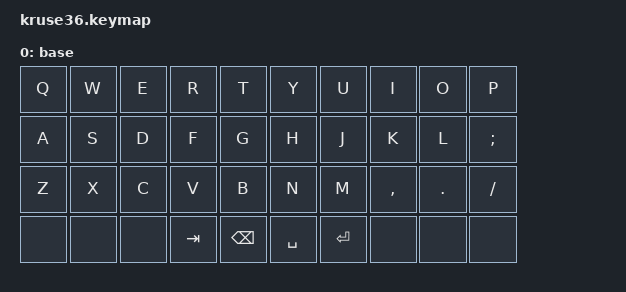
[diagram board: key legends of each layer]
#define ZMK_POINTING_DEFAULT_MOVE_VAL 1800  // default: 600
#define ZMK_POINTING_DEFAULT_SCRL_VAL 35    // default: 10

#include <behaviors.dtsi>
#include <dt-bindings/zmk/bt.h>
#include <dt-bindings/zmk/keys.h>
#include <dt-bindings/zmk/pointing.h>

&mt {
    //  flavor = "tap-preferred";
    // tapping_term_ms = <200>;
};

&lt { require-prior-idle-ms = <120>; };

/ {
        macros {
        // sometimes my device thinks a modifier is being held down
        // pressing all modifiers fixes it.

        unstick: unstick {
            label = "ZM_unstick";
            compatible = "zmk,behavior-macro";
            #binding-cells = <0>;
            bindings = <&kp LSHIFT &kp RSHIFT &kp LCTRL &kp RCTRL &kp LALT &kp RALT &kp LGUI &kp RGUI>;
        };

        alt_tab: alt_tab {
            compatible = "zmk,behavior-macro";
            #binding-cells = <0>;
            bindings = <&kp LEFT_ALT &kp TAB>;
            label = "ALT_TAB";
        };

        win_tab: win_tab {
            compatible = "zmk,behavior-macro";
            #binding-cells = <0>;
            bindings = <&kp LGUI &kp TAB>;
            label = "WIN_TAB";
        };
    };

    combos {
        compatible = "zmk,combos";

        // both right thumb keys
        // internal-left & external-right thumb keys

        escape {
            timeout-ms = <200>;
            key-positions = <33 30>;
            bindings = <&kp ESCAPE>;
        };

        // both left thumb keys

        combo_settings {
            timeout-ms = <300>;
            key-positions = <30 31>;
            bindings = <&mo 7>;
        };

        homeLayer {
            bindings = <&to 0>;
            key-positions = <16 13>;
            timeout-ms = <200>;
        };

        navLayer {
            bindings = <&to 1>;
            key-positions = <31 32>;
            timeout-ms = <200>;
        };

        quick_del {
            bindings = <&kp DEL>;
            key-positions = <13 31>;
        };
    };

    behaviors {
        longPress: longPress {
            compatible = "zmk,behavior-hold-tap";
            label = "LONGPRESS";
            bindings = <&kp>, <&kp>;

            #binding-cells = <2>;
            flavor = "tap-preferred";
            tapping-term-ms = <360>;
        };

        HMR: HMR {
            compatible = "zmk,behavior-hold-tap";
            label = "HMR";
            bindings = <&kp>, <&kp>;

            #binding-cells = <2>;
            flavor = "tap-preferred";
            tapping-term-ms = <180>;
            hold-trigger-key-positions = <0 1 2 11 12 0 1 2 3 4 10 11 12 13 14 20 21 22 23 24 30 31>;
            require-prior-idle-ms = <120>;
        };

        HML: HML {
            compatible = "zmk,behavior-hold-tap";
            label = "HML";
            bindings = <&kp>, <&kp>;

            #binding-cells = <2>;
            flavor = "tap-preferred";
            tapping-term-ms = <180>;
            hold-trigger-key-positions = <5 6 7 8 9 15 16 17 18 19 25 26 27 28 29 32 33>;
            require-prior-idle-ms = <120>;
        };
    };
    
    keymap {
        compatible = "zmk,keymap";

        base {
            bindings = <
&kp Q  &kp W  &kp E  &kp R  &kp T  &kp Y    &kp U  &kp I  &kp O  &kp P
&kp A  &kp S  &kp D  &kp F  &kp G  &kp H    &kp J  &kp K  &kp L  &kp SEMI
&kp Z  &kp X  &kp C  &kp V  &kp B  &kp N    &kp M  &kp COMMA  &kp DOT  &kp SLASH
&none  &none  &none &kp TAB &kp BACKSPACE   &kp SPACE  &kp ENTER  &none  &none  &none
            >;
        };
    };
};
